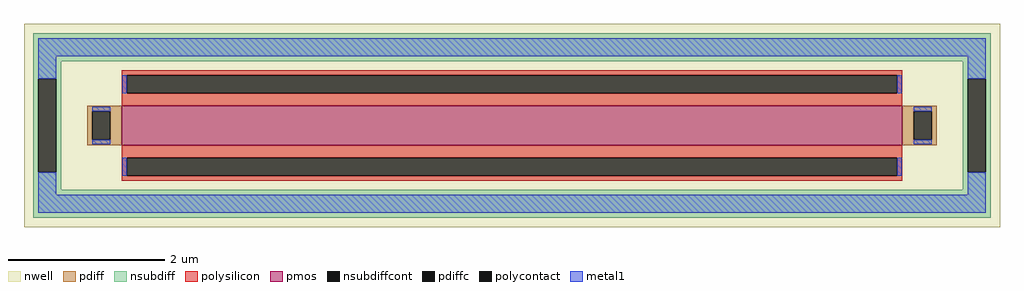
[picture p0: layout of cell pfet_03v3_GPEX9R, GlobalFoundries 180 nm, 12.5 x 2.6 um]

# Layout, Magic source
magic
tech gf180mcuD
magscale 1 10
<< nwell >>
rect -1250 -260 1250 260
<< pmos >>
rect -1000 -50 1000 50
<< pdiff >>
rect -1088 37 -1000 50
rect -1088 -37 -1075 37
rect -1029 -37 -1000 37
rect -1088 -50 -1000 -37
rect 1000 37 1088 50
rect 1000 -37 1029 37
rect 1075 -37 1088 37
rect 1000 -50 1088 -37
<< pdiffc >>
rect -1075 -37 -1029 37
rect 1029 -37 1075 37
<< nsubdiff >>
rect -1226 164 1226 236
rect -1226 120 -1154 164
rect -1226 -120 -1213 120
rect -1167 -120 -1154 120
rect 1154 120 1226 164
rect -1226 -164 -1154 -120
rect 1154 -120 1167 120
rect 1213 -120 1226 120
rect 1154 -164 1226 -120
rect -1226 -236 1226 -164
<< nsubdiffcont >>
rect -1213 -120 -1167 120
rect 1167 -120 1213 120
<< polysilicon >>
rect -1000 129 1000 142
rect -1000 83 -987 129
rect 987 83 1000 129
rect -1000 50 1000 83
rect -1000 -83 1000 -50
rect -1000 -129 -987 -83
rect 987 -129 1000 -83
rect -1000 -142 1000 -129
<< polycontact >>
rect -987 83 987 129
rect -987 -129 987 -83
<< metal1 >>
rect -1213 177 1213 223
rect -1213 120 -1167 177
rect -998 83 -987 129
rect 987 83 998 129
rect 1167 120 1213 177
rect -1075 37 -1029 48
rect -1075 -48 -1029 -37
rect 1029 37 1075 48
rect 1029 -48 1075 -37
rect -1213 -177 -1167 -120
rect -998 -129 -987 -83
rect 987 -129 998 -83
rect 1167 -177 1213 -120
rect -1213 -223 1213 -177
<< properties >>
string FIXED_BBOX -1190 -200 1190 200
string gencell pfet_03v3
string library gf180mcu
string parameters w 0.5 l 10 m 1 nf 1 diffcov 100 polycov 100 guard 1 glc 1 grc 1 gtc 0 gbc 0 tbcov 100 rlcov 100 topc 1 botc 1 poverlap 0 doverlap 1 lmin 0.28 wmin 0.22 class mosfet full_metal 1 compatible {pfet_03v3 pfet_05v0 pfet_06v0}
<< end >>
